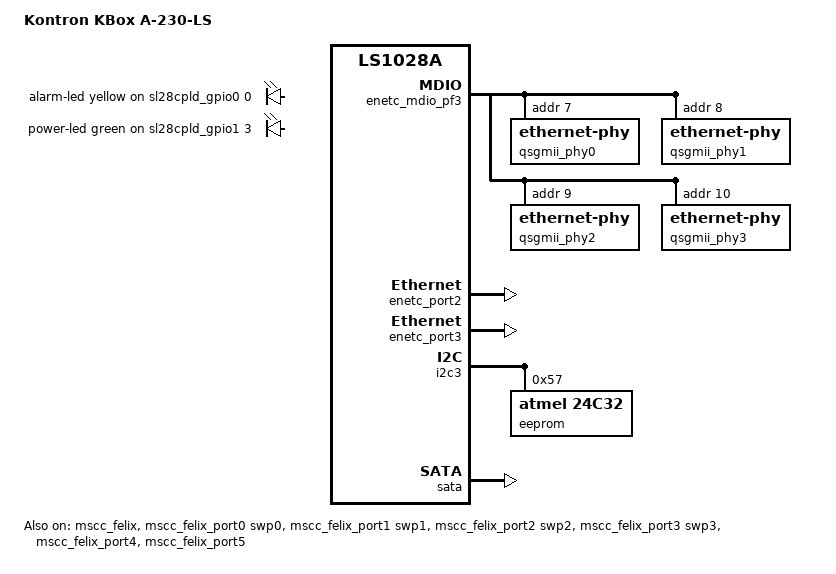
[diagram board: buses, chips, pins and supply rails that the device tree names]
// SPDX-License-Identifier: GPL-2.0+
/*
 * Device Tree File for the Kontron KBox A-230-LS.
 *
 * This consists of a Kontron SMARC-sAL28 (Dual PHY) and a special
 * carrier (s1914).
 *
 * Copyright (C) 2019 Michael Walle <michael@walle.cc>
 *
 */

/dts-v1/;
#include "fsl-ls1028a-kontron-sl28-var4.dts"
#include <dt-bindings/leds/common.h>

/ {
	model = "Kontron KBox A-230-LS";
	compatible = "kontron,kbox-a-230-ls", "kontron,sl28-var4",
		     "kontron,sl28", "fsl,ls1028a";

	leds {
		compatible = "gpio-leds";

		alarm-led {
			function = LED_FUNCTION_ALARM;
			color = <LED_COLOR_ID_YELLOW>;
			gpios = <&sl28cpld_gpio0 0 GPIO_ACTIVE_HIGH>;
		};

		power-led {
			linux,default-trigger = "default-on";
			function = LED_FUNCTION_POWER;
			color = <LED_COLOR_ID_GREEN>;
			gpios = <&sl28cpld_gpio1 3 GPIO_ACTIVE_HIGH>;
		};
	};
};

&enetc_mdio_pf3 {
	/* BCM54140 QSGMII quad PHY */
	qsgmii_phy0: ethernet-phy@7 {
		reg = <7>;
	};

	qsgmii_phy1: ethernet-phy@8 {
		reg = <8>;
	};

	qsgmii_phy2: ethernet-phy@9 {
		reg = <9>;
	};

	qsgmii_phy3: ethernet-phy@10 {
		reg = <10>;
	};
};

&enetc_port2 {
	nvmem-cells = <&base_mac_address 2>;
	nvmem-cell-names = "mac-address";
	status = "okay";
};

&enetc_port3 {
	nvmem-cells = <&base_mac_address 3>;
	nvmem-cell-names = "mac-address";
	status = "okay";
};

&i2c3 {
	eeprom@57 {
		compatible = "atmel,24c32";
		reg = <0x57>;
		pagesize = <32>;
	};
};

&mscc_felix {
	status = "okay";
};

&mscc_felix_port0 {
	label = "swp0";
	managed = "in-band-status";
	phy-handle = <&qsgmii_phy0>;
	phy-mode = "qsgmii";
	nvmem-cells = <&base_mac_address 4>;
	nvmem-cell-names = "mac-address";
	status = "okay";
};

&mscc_felix_port1 {
	label = "swp1";
	managed = "in-band-status";
	phy-handle = <&qsgmii_phy1>;
	phy-mode = "qsgmii";
	nvmem-cells = <&base_mac_address 5>;
	nvmem-cell-names = "mac-address";
	status = "okay";
};

&mscc_felix_port2 {
	label = "swp2";
	managed = "in-band-status";
	phy-handle = <&qsgmii_phy2>;
	phy-mode = "qsgmii";
	nvmem-cells = <&base_mac_address 6>;
	nvmem-cell-names = "mac-address";
	status = "okay";
};

&mscc_felix_port3 {
	label = "swp3";
	managed = "in-band-status";
	phy-handle = <&qsgmii_phy3>;
	phy-mode = "qsgmii";
	nvmem-cells = <&base_mac_address 7>;
	nvmem-cell-names = "mac-address";
	status = "okay";
};

&mscc_felix_port4 {
	status = "okay";
};

&mscc_felix_port5 {
	status = "okay";
};

&sata {
	status = "okay";
};
